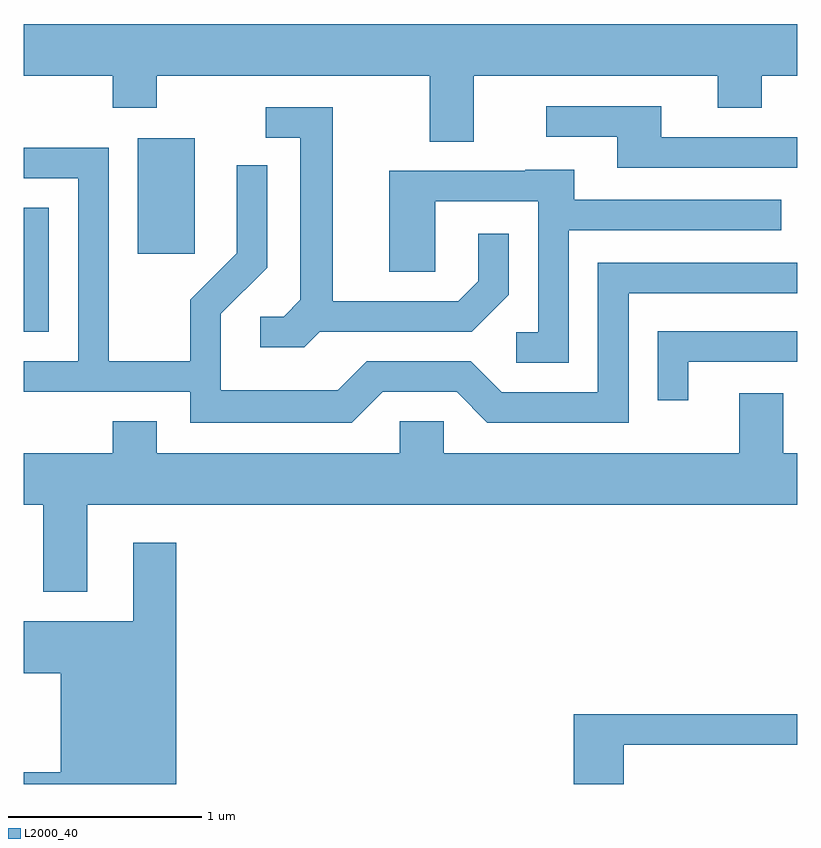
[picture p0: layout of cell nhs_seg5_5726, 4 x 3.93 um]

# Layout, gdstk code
import gdstk
lib = gdstk.Library(unit=1e-6, precision=1e-09)
def R(c, l, rs):  # rectangles x0, y0, x1, y1
    for r in rs: c.add(gdstk.rectangle(r[:2], r[2:], *l))
def P(c, l, *ps):  # polygons
    for p in ps: c.add(gdstk.Polygon(p, *l))
L2000_40 = (2000, 40)

nhs_seg5_5726 = lib.new_cell('nhs_seg5_5726')
R(nhs_seg5_5726, L2000_40, [(355.611,1404.411,355.739,1405.054), (356.201,1404.816,356.494,1405.414)])
P(nhs_seg5_5726, L2000_40, [(355.611,1405.736),(356.071,1405.736),(356.071,1405.571),(356.299,1405.571),(356.299,1405.736),(357.711,1405.736),(357.711,1405.396),(357.939,1405.396),(357.939,1405.736),(359.201,1405.736),(359.201,1405.571),(359.429,1405.571),(359.429,1405.736),(359.611,1405.736),(359.611,1406.004),(355.611,1406.004)],
  [(359.611,1405.419),(358.909,1405.419),(358.909,1405.579),(358.313,1405.579),(358.313,1405.421),(358.681,1405.421),(358.681,1405.261),(359.611,1405.261)],
  [(357.142,1404.411),(357.927,1404.411),(358.119,1404.604),(358.119,1404.918),(357.961,1404.918),(357.961,1404.672),(357.859,1404.569),(357.209,1404.569),(357.209,1405.574),(356.863,1405.574),(356.863,1405.416),(357.041,1405.416),(357.041,1404.577),(356.954,1404.489),(356.833,1404.489),(356.833,1404.331),(357.062,1404.331)],
  [(357.467,1404.101),(357.849,1404.101),(358.009,1403.941),(358.739,1403.941),(358.739,1404.611),(359.611,1404.611),(359.611,1404.769),(358.581,1404.769),(358.581,1404.099),(358.082,1404.099),(357.922,1404.259),(357.384,1404.259),(357.234,1404.109),(356.629,1404.109),(356.629,1404.504),(356.869,1404.744),(356.869,1405.273),(356.711,1405.273),(356.711,1404.817),(356.471,1404.577),(356.471,1404.259),(356.049,1404.259),(356.049,1405.364),(355.611,1405.364),(355.611,1405.206),(355.891,1405.206),(355.891,1404.259),(355.611,1404.259),(355.611,1404.101),(356.471,1404.101),(356.471,1403.941),(357.307,1403.941)],
  [(358.429,1404.936),(359.528,1404.936),(359.528,1405.094),(358.459,1405.094),(358.459,1405.249),(358.205,1405.249),(358.205,1405.244),(357.501,1405.244),(357.501,1404.721),(357.739,1404.721),(357.739,1405.086),(358.271,1405.086),(358.271,1404.409),(358.158,1404.409),(358.158,1404.251),(358.429,1404.251)],
  [(359.049,1404.256),(359.611,1404.256),(359.611,1404.414),(358.891,1404.414),(358.891,1404.058),(359.049,1404.058)],
  [(355.939,1403.516),(359.611,1403.516),(359.611,1403.784),(359.539,1403.784),(359.539,1404.094),(359.311,1404.094),(359.311,1403.784),(357.784,1403.784),(357.784,1403.949),(357.556,1403.949),(357.556,1403.784),(356.299,1403.784),(356.299,1403.949),(356.071,1403.949),(356.071,1403.784),(355.611,1403.784),(355.611,1403.516),(355.711,1403.516),(355.711,1403.066),(355.939,1403.066)],
  [(356.399,1403.319),(356.176,1403.319),(356.176,1402.914),(355.611,1402.914),(355.611,1402.646),(355.801,1402.646),(355.801,1402.134),(355.611,1402.134),(355.611,1402.072),(356.399,1402.072)],
  [(358.714,1402.276),(359.611,1402.276),(359.611,1402.434),(358.456,1402.434),(358.456,1402.072),(358.714,1402.072)])

lib.write_gds('nhs_seg5_5726.gds')
